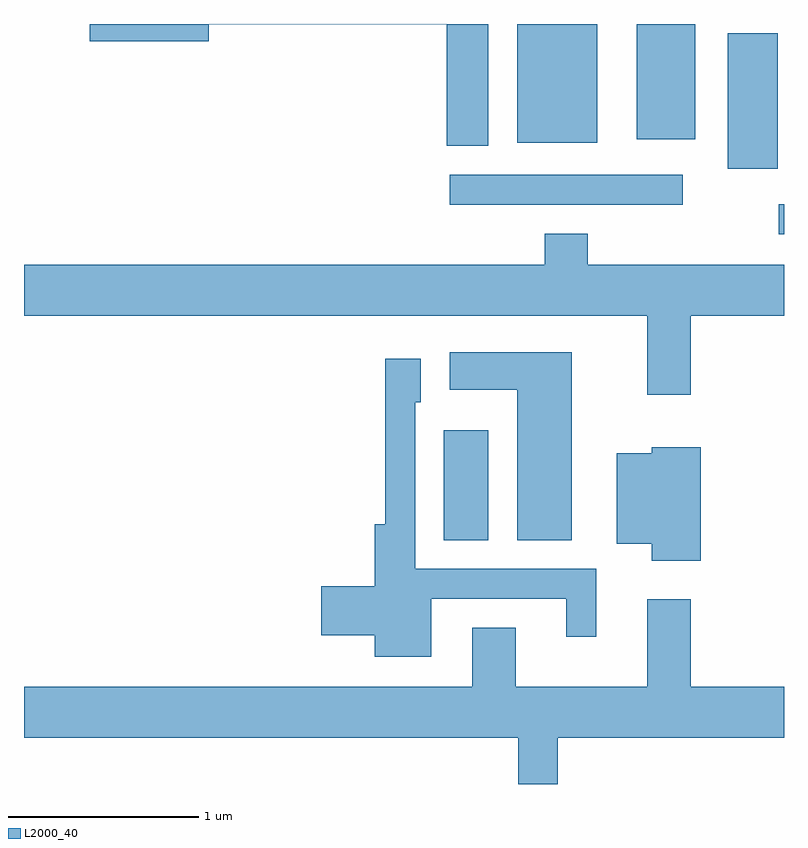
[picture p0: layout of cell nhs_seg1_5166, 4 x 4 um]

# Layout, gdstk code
import gdstk
lib = gdstk.Library(unit=1e-6, precision=1e-09)
def R(c, l, rs):  # rectangles x0, y0, x1, y1
    for r in rs: c.add(gdstk.rectangle(r[:2], r[2:], *l))
def P(c, l, *ps):  # polygons
    for p in ps: c.add(gdstk.Polygon(p, *l))
L2000_40 = (2000, 40)

nhs_seg1_5166 = lib.new_cell('nhs_seg1_5166')
R(nhs_seg1_5166, L2000_40, [(341.821,964.996,342.054,965.574), (343.583,966.606,343.611,966.764), (341.853,966.761,343.078,966.919), (343.316,966.951,343.579,967.664), (342.206,967.086,342.629,967.712), (342.836,967.106,343.144,967.712)])
P(nhs_seg1_5166, L2000_40, [(342.054,967.712),(339.956,967.712),(339.956,967.621),(340.584,967.621),(340.584,967.711),(341.836,967.711),(341.836,967.071),(342.054,967.071)],
  [(343.119,966.176),(343.611,966.176),(343.611,966.444),(342.579,966.444),(342.579,966.609),(342.351,966.609),(342.351,966.444),(339.611,966.444),(339.611,966.176),(342.891,966.176),(342.891,965.761),(343.119,965.761)],
  [(342.494,965.984),(341.851,965.984),(341.851,965.786),(342.206,965.786),(342.206,964.996),(342.494,964.996)],
  [(341.754,964.686),(342.466,964.686),(342.466,964.488),(342.624,964.488),(342.624,964.844),(341.669,964.844),(341.669,965.721),(341.699,965.721),(341.699,965.949),(341.511,965.949),(341.511,965.079),(341.456,965.079),(341.456,964.754),(341.176,964.754),(341.176,964.496),(341.456,964.496),(341.456,964.381),(341.754,964.381)],
  [(343.174,965.484),(342.916,965.484),(342.916,965.454),(342.731,965.454),(342.731,964.976),(342.916,964.976),(342.916,964.886),(343.174,964.886)],
  [(342.419,963.956),(343.611,963.956),(343.611,964.224),(343.119,964.224),(343.119,964.684),(342.891,964.684),(342.891,964.224),(342.199,964.224),(342.199,964.534),(341.971,964.534),(341.971,964.224),(339.611,964.224),(339.611,963.956),(342.211,963.956),(342.211,963.712),(342.419,963.712)])

lib.write_gds('nhs_seg1_5166.gds')
